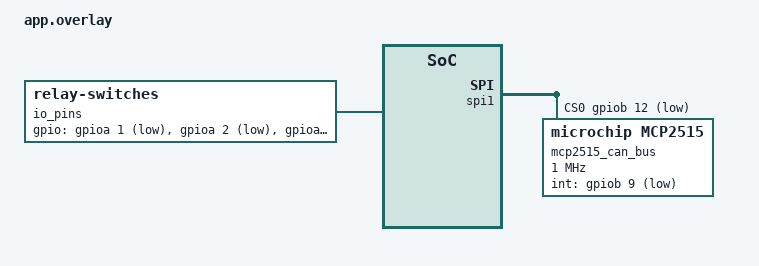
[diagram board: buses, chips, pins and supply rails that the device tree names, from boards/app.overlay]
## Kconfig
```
# Private config options for can sample app

# Copyright (c) 2018 Alexander Wachter
# SPDX-License-Identifier: Apache-2.0

mainmenu "Controller Area Network sample application"

config LOOPBACK_MODE
	bool "Loopback LOOPBACK_MODE"
	default y
	help
	  Set the controller to loopback mode and enables a testing tx_thread which send expected can frames.
	  This allows testing without a second board.

source "Kconfig.zephyr"
```

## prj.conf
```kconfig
CONFIG_GPIO=y
CONFIG_CAN=y

CONFIG_CAN_INIT_PRIORITY=80
CONFIG_CAN_MAX_FILTER=5
CONFIG_LOOPBACK_MODE=n

CONFIG_CANARD=y
CONFIG_LOG=y
CONFIG_KYVERNITIS=y
```

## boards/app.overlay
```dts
/ {
	io_pins: relay-switches {
		compatible = "relay-switches";
		gpios = <&gpioa 1 GPIO_ACTIVE_LOW>,
			<&gpioa 2 GPIO_ACTIVE_LOW>, 
			<&gpioa 3 GPIO_ACTIVE_LOW>, 
			<&gpioa 4 GPIO_ACTIVE_LOW>;
	};

        chosen {
                zephyr,canbus = &mcp2515_can_bus;
        };

};

&spi1 {
        status = "okay";
        cs-gpios = <&gpiob 12 GPIO_ACTIVE_LOW>;
        mcp2515_can_bus: can@0 {
                compatible = "microchip,mcp2515";
                spi-max-frequency = <1000000>;
                int-gpios = <&gpiob 9 GPIO_ACTIVE_LOW>; /* B9 */
                status = "okay";
                reg = <0x0>;
                osc-freq = <8000000>;
                bus-speed = <800000>;
                sjw = <1>;
                sample-point = <875>;

                can-transceiver {
                        max-bitrate = <1000000>;
                };
        };
};
```

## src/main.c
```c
#include <zephyr/device.h>
#include <zephyr/devicetree.h>
#include <zephyr/drivers/gpio.h>
#include <zephyr/drivers/can.h>
#include <zephyr/kernel.h>
#include <zephyr/sys/util.h>
#include <zephyr/logging/log.h>
#include <app_version.h>

#include <kycan.h>

#ifdef CONFIG_LOOPBACK_MODE

#define TX_THREAD_STACK_SIZE 512
#define TX_THREAD_PRIORITY 2

K_THREAD_STACK_DEFINE(tx_thread_stack, TX_THREAD_STACK_SIZE);

#endif

LOG_MODULE_REGISTER(main, CONFIG_LOG_DEFAULT_LEVEL);
CAN_MSGQ_DEFINE(rx_msgq, 10);

/* DT spec for gpio pins */
const struct gpio_dt_spec gpio_1 = GPIO_DT_SPEC_GET_BY_IDX(DT_NODELABEL(io_pins), gpios, 0);
const struct gpio_dt_spec gpio_2 = GPIO_DT_SPEC_GET_BY_IDX(DT_NODELABEL(io_pins), gpios, 1);
const struct gpio_dt_spec gpio_3 = GPIO_DT_SPEC_GET_BY_IDX(DT_NODELABEL(io_pins), gpios, 2);
const struct gpio_dt_spec gpio_4 = GPIO_DT_SPEC_GET_BY_IDX(DT_NODELABEL(io_pins), gpios, 3);

/* DT spec for led*/
static const struct gpio_dt_spec led = GPIO_DT_SPEC_GET(DT_ALIAS(led0), gpios);

/* DT spec for can module */
const struct device *const can_dev = DEVICE_DT_GET(DT_CHOSEN(zephyr_canbus));

/* can filter for fpv switch */
struct can_filter fpv_filter = {
	.flags = CAN_FILTER_DATA | CAN_FILTER_IDE,
	.id = FPV_SWITCH_ID,
	.mask = CAN_EXT_ID_MASK,
};

struct can_frame fpv_switch_rx_frame;


#ifdef CONFIG_LOOPBACK_MODE
	
struct can_frame fpv_switch_tx_frame = {
	.flags = CAN_FRAME_IDE,
	.id = FPV_SWITCH_ID,
};

struct k_thread tx_thread_data;

void tx_thread(void *unused1, void *unused2, void *unused3)
{
	uint8_t channel = 0;

	while (1) {	
		fpv_switch_tx_frame.dlc = 6;
		fpv_switch_tx_frame.data_32[0] = 0;
		fpv_switch_tx_frame.data[4] = FPV_SWITCH_CMD_ID;
		fpv_switch_tx_frame.data[5] = (channel%4);

		can_send(can_dev, &fpv_switch_tx_frame, K_MSEC(100), NULL, NULL);

		LOG_INF("CAN frame ID: %x\n", fpv_switch_tx_frame.id);
		LOG_INF("Channel: %d\n", fpv_switch_tx_frame.data[5]);

		channel++;

		k_sleep(K_SECONDS(1));
	}
	
	return;
}

#endif


int main(void)
{
	printk("\nFPV-Switch: v%s\n\n", APP_VERSION_STRING);
	
	int err;

	/* Device ready checks */

	if (!gpio_is_ready_dt(&gpio_1)) {
		LOG_ERR("GPIO 1 : Pin not ready\n");
		return 0;
    };

	if (!gpio_is_ready_dt(&gpio_2)) {
		LOG_ERR("GPIO 2 : Pin not ready\n");
		return 0;
    };
	
	if (!gpio_is_ready_dt(&gpio_3)) {
		LOG_ERR("GPIO 3 : Pin not ready\n");
		return 0;
    };

	if (!gpio_is_ready_dt(&gpio_4)) {
		LOG_ERR("GPIO 4 : Pin not ready\n");
		return 0;
    };

	if (!device_is_ready(can_dev)) {
		LOG_ERR("CAN: Device %s not ready.\n", can_dev->name);
		return 0;
	}

	/* Start up configurations */

	err = gpio_pin_configure_dt(&gpio_1, GPIO_OUTPUT_INACTIVE);
	if (err != 0) {
		LOG_ERR("Error %d: failed to configure %s pin %d\n",
				err, gpio_1.port->name, gpio_1.pin);
		return 0;
	}

	err = gpio_pin_configure_dt(&gpio_2, GPIO_OUTPUT_INACTIVE);
	if (err != 0) {
		LOG_ERR("Error %d: failed to configure %s pin %d\n",
				err, gpio_2.port->name, gpio_2.pin);
		return 0;
	}

	err = gpio_pin_configure_dt(&gpio_3, GPIO_OUTPUT_INACTIVE);
	if (err != 0) {
		LOG_ERR("Error %d: failed to configure %s pin %d\n",
				err, gpio_3.port->name, gpio_3.pin);
		return 0;
	}

	err = gpio_pin_configure_dt(&gpio_4, GPIO_OUTPUT_INACTIVE);
	if (err != 0) {
		LOG_ERR("Error %d: failed to configure %s pin %d\n",
				err, gpio_4.port->name, gpio_4.pin);
		return 0;
	}


#ifdef CONFIG_LOOPBACK_MODE

	k_tid_t tx_tid;

	if (can_set_mode(can_dev, CAN_MODE_LOOPBACK)) {
		LOG_ERR("Error setting CAN mode");
		return 0;
	}
	
	tx_tid = k_thread_create(&tx_thread_data, tx_thread_stack,
				 K_THREAD_STACK_SIZEOF(tx_thread_stack),
				 tx_thread, NULL, NULL, NULL,
				 TX_THREAD_PRIORITY, 0, K_NO_WAIT);

	if (!tx_tid) {
		LOG_ERR("ERROR spawning tx thread\n");
	}

#endif

	if (can_start(can_dev)) {
		LOG_ERR("Error starting CAN controller.\n");
		return 0;
	}

	int filter_id = can_add_rx_filter_msgq(can_dev, &rx_msgq, &fpv_filter);
	if (filter_id < 0)
	{
		LOG_ERR("Unable to add rx msgq [%d]", filter_id);
		return 0;
	}

	err = gpio_pin_configure_dt(&led, GPIO_OUTPUT_ACTIVE);
	if (err != 0) {
		LOG_ERR("Error : LED not configured\n");
		return 0;
	}

	LOG_INF("Initialization completed successfully\n");


	while(1) {

		k_msgq_get(&rx_msgq, &fpv_switch_rx_frame, K_FOREVER);
		
		struct can_frame frame = fpv_switch_rx_frame;

		switch (frame.data[5]) {	
			
		case 0:
			gpio_pin_set_dt(&gpio_1, 1);
			gpio_pin_set_dt(&gpio_2, 0);
			gpio_pin_set_dt(&gpio_3, 0);
			gpio_pin_set_dt(&gpio_4, 0);
			break;
		case 1:
            gpio_pin_set_dt(&gpio_1, 0);
            gpio_pin_set_dt(&gpio_2, 1);
            gpio_pin_set_dt(&gpio_3, 0);
            gpio_pin_set_dt(&gpio_4, 0);
			break;
		case 2:
            gpio_pin_set_dt(&gpio_1, 0);
            gpio_pin_set_dt(&gpio_2, 0);
            gpio_pin_set_dt(&gpio_3, 1);
            gpio_pin_set_dt(&gpio_4, 0);
            break;
		case 3:
            gpio_pin_set_dt(&gpio_1, 0);
            gpio_pin_set_dt(&gpio_2, 0);
            gpio_pin_set_dt(&gpio_3, 0);
            gpio_pin_set_dt(&gpio_4, 1);
            break;
		}

		gpio_pin_toggle_dt(&led);
	}
	return 0;
}
```
